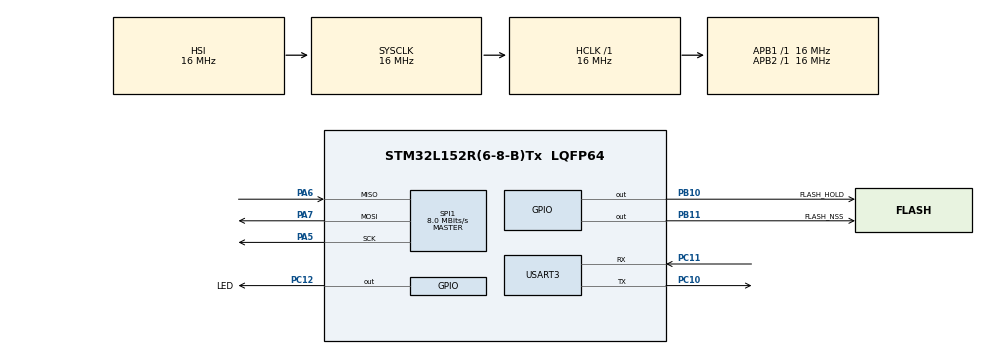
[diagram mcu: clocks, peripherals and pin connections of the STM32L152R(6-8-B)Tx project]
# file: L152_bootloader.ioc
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Mcu.Family=STM32L1
Mcu.Name=STM32L152R(6-8-B)Tx
Mcu.Package=LQFP64
NVIC.PriorityGroup=NVIC_PRIORITYGROUP_4
NVIC.SPI1_IRQn=true\:0\:0\:false\:false\:true\:true\:true\:true
NVIC.USART3_IRQn=true\:0\:0\:false\:false\:true\:true\:true\:true
PA5.Mode=Full_Duplex_Master
PA5.Signal=SPI1_SCK
PA6.Mode=Full_Duplex_Master
PA6.Signal=SPI1_MISO
PA7.Mode=Full_Duplex_Master
PA7.Signal=SPI1_MOSI
PB10.GPIO_Label=FLASH_HOLD
PB10.PinState=GPIO_PIN_SET
PB10.Signal=GPIO_Output
PB11.GPIO_Label=FLASH_NSS
PB11.PinState=GPIO_PIN_SET
PB11.Signal=GPIO_Output
PC10.Mode=Asynchronous
PC10.Signal=USART3_TX
PC11.Mode=Asynchronous
PC11.Signal=USART3_RX
PC12.GPIO_Label=LED
PC12.GPIO_PuPd=GPIO_NOPULL
PC12.Signal=GPIO_Output
ProjectManager.HeapSize=0x200
ProjectManager.StackSize=0x400
ProjectManager.TargetToolchain=EWARM V8.32
RCC.AHBFreq_Value=16000000
RCC.APB1Freq_Value=16000000
RCC.APB1TimFreq_Value=16000000
RCC.APB2Freq_Value=16000000
RCC.APB2TimFreq_Value=16000000
RCC.HCLKFreq_Value=16000000
RCC.HSE_VALUE=24000000
RCC.HSI_VALUE=16000000
RCC.LSE_VALUE=32768
RCC.MSI_VALUE=2097000
RCC.SYSCLKFreq_VALUE=16000000
RCC.SYSCLKSource=RCC_SYSCLKSOURCE_HSI
RCC.VCOOutputFreq_Value=48000000
SPI1.CalculateBaudRate=8.0 MBits/s
SPI1.Direction=SPI_DIRECTION_2LINES
SPI1.Mode=SPI_MODE_MASTER
SPI1.VirtualType=VM_MASTER
USART3.VirtualMode=VM_ASYNC
board=custom

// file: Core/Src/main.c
/* USER CODE BEGIN Header */
/**
  ******************************************************************************
  * @file           : main.c
  * @brief          : Main program body
  ******************************************************************************
  * @attention
  *
  * Copyright (c) 2026 STMicroelectronics.
  * All rights reserved.
  *
  * This software is licensed under terms that can be found in the LICENSE file
  * in the root directory of this software component.
  * If no LICENSE file comes with this software, it is provided AS-IS.
  *
  ******************************************************************************
  */
/* USER CODE END Header */
#include "main.h"
#include "spi.h"
#include "usart.h"
#include "gpio.h"

/* USER CODE BEGIN Includes */
#include "stdio.h"
#include "string.h"
#include "stdbool.h"
//#include "flash_test.h"
#include "flash_io.h"
#include "bootloader_app.h"

#define APP_MAX_SIZE    0x15FFF    // APP max 87KB

// Internal flash: bootloader address range
#define FLASH_INT_START 0x08000000
#define FLASH_INT_END   0x08008000

// Internal flash: message area address range
#define FLASH_MSG_START 0x08008100
#define FLASH_MSG_END   0x08009000

// Internal flash: APP firmware address range
#define FLASH_APP_START 0x0800A000
#define FLASH_APP_END   0x0801FFFF

// External flash: W25Q16 logical address range
#define FLASH_EXT_START 0x000000
#define FLASH_EXT_END   0x1FFFFF

uint32_t CRC32_Calc(const uint8_t *data, uint32_t len);
extern void hal_app_jump(uint32_t u32AppAddr);
void init_turn();

/* USER CODE END Includes */

void SystemClock_Config(void);

int main(void)
{

  /* MCU Configuration--------------------------------------------------------*/

  /* Reset of all peripherals, Initializes the Flash interface and the Systick. */
  HAL_Init();

  /* Configure the system clock */
  SystemClock_Config();

  /* Initialize all configured peripherals */
  MX_GPIO_Init();
  MX_SPI1_Init();
  MX_USART3_UART_Init();
  /* USER CODE BEGIN 2 */

  for(int i = 0; i < 3; i++)
  {
    HAL_GPIO_WritePin(GPIOC, GPIO_PIN_12, GPIO_PIN_SET);
    HAL_Delay(100);
    HAL_GPIO_WritePin(GPIOC, GPIO_PIN_12, GPIO_PIN_RESET);
    HAL_Delay(100);
  }

  // 应用层写入 12 字节：[file_len(4B)][file_crc(4B)][0x55AA55AA(4B)]
  uint32_t msg[3] = {0};  // msg[0]=file_len, msg[1]=file_crc, msg[2]=flag
  IF_Read(FLASH_MSG_START, (uint8_t *)msg, sizeof(msg));

  if (msg[2] == 0x55AA55AA && msg[0] > 0 && msg[0] <= (FLASH_APP_END - FLASH_APP_START))
  {
      uint32_t file_len = msg[0];
      uint32_t file_crc = msg[1];

      //  外置 Flash 固件整体 CRC32 校验

      uint32_t crc = 0xFFFFFFFF;
      uint8_t  buf[256];
      uint32_t remain = file_len;
      uint32_t addr   = FLASH_EXT_START;

      while (remain > 0) {
          uint16_t chunk = (remain > sizeof(buf)) ? (uint16_t)sizeof(buf) : (uint16_t)remain;
          sFLASH_ReadBuffer(buf, addr, chunk);   // 从外置 Flash 读取数据块

          // 逐字节计算 CRC
          for (uint16_t k = 0; k < chunk; k++) {
              crc ^= buf[k];
              for (uint8_t j = 0; j < 8; j++) {
                  if (crc & 1)
                      crc = (crc >> 1) ^ 0xEDB88320;
                  else
                      crc >>= 1;
              }
          }
          addr   += chunk;
          remain -= chunk;
      }
      crc ^= 0xFFFFFFFF;
      // CRC 不匹配 更改标志，回退到现有 APP
      if (crc != file_crc) {
          uint32_t err_msg[3] = {file_len, file_crc, 0x43524345};  // 0x43524345 = "ECRC"
          Flash_Erase_msg();
          IF_Write(FLASH_MSG_START, (uint8_t *)err_msg, sizeof(err_msg));
          NVIC_SystemReset();
      }

      //  擦除 APP 区，搬运固件到内置 Flash
      Flash_Erase_APP();//擦

      uint32_t copy_errors = 0;
      uint8_t  copy_buf[256];
      uint8_t  verify_buf[256];

      for (uint32_t offset = 0; offset < file_len; offset += 256)
      {
          uint16_t chunk = (file_len - offset) > 256 ? 256 : (uint16_t)(file_len - offset);

          // 从外置 Flash 读取
          sFLASH_ReadBuffer(copy_buf, FLASH_EXT_START + offset, chunk);

          // 4 字节对齐补齐
          if (chunk % 4 != 0) {
              uint16_t padded = (chunk + 3) & ~3U;
              for (uint16_t p = chunk; p < padded; p++) copy_buf[p] = 0xFF;
              chunk = padded;
          }
          IF_Write(FLASH_APP_START + offset, copy_buf, chunk);

          //  读回校验
          IF_Read(FLASH_APP_START + offset, verify_buf, chunk);
          if (memcmp(copy_buf, verify_buf, chunk) != 0) {
              copy_errors++;
          }
      }

      //  搬运完毕，判定结果
      if (copy_errors == 0) {
          // 全部校验通过：清除标记，重启运行新固件
          Flash_Erase_msg();
      } else {
          // 校验失败 清除标记
          // 写入错误码 0x434F5059
          uint32_t err_msg[3] = {file_len, file_crc, 0x434F5059};
          Flash_Erase_msg();
          IF_Write(FLASH_MSG_START, (uint8_t *)err_msg, sizeof(err_msg));
      }
      NVIC_SystemReset();
  }
  else
  {
    uint32_t app_sp, app_pc;

    // jump_to_app: 验证 APP 固件有效性
    // [0] = 初始 SP, [1] = Reset_Handler PC
    app_sp = *(__IO uint32_t*)(FLASH_APP_START);
    app_pc = *(__IO uint32_t*)(FLASH_APP_START + 4);

    // SP 必须在 RAM 范围内 (20KB RAM @ 0x20000000)
    // PC 必须在 APP 区范围内，且 LSB=1 (Thumb 模式)
    if ((app_sp >= 0x20000000 && app_sp <= 0x20005000) &&
        (app_pc >= FLASH_APP_START && app_pc <= FLASH_APP_END) &&
        (app_pc & 1))
    {
        init_turn();  // 跳转前关闭所有外设
        hal_app_jump(FLASH_APP_START);
    }

  }

  /* USER CODE END 2 */

  /* Infinite loop */
  while (1)
  {

  }
}

void SystemClock_Config(void)
{
  RCC_OscInitTypeDef RCC_OscInitStruct = {0};
  RCC_ClkInitTypeDef RCC_ClkInitStruct = {0};

  /** Configure the main internal regulator output voltage
  */
  __HAL_PWR_VOLTAGESCALING_CONFIG(PWR_REGULATOR_VOLTAGE_SCALE1);

  /** Initializes the RCC Oscillators according to the specified parameters
  * in the RCC_OscInitTypeDef structure.
  */
  RCC_OscInitStruct.OscillatorType = RCC_OSCILLATORTYPE_HSI;
  RCC_OscInitStruct.HSIState = RCC_HSI_ON;
  RCC_OscInitStruct.HSICalibrationValue = RCC_HSICALIBRATION_DEFAULT;
  RCC_OscInitStruct.PLL.PLLState = RCC_PLL_NONE;
  if (HAL_RCC_OscConfig(&RCC_OscInitStruct) != HAL_OK)
  {
    Error_Handler();
  }

  /** Initializes the CPU, AHB and APB buses clocks
  */
  RCC_ClkInitStruct.ClockType = RCC_CLOCKTYPE_HCLK|RCC_CLOCKTYPE_SYSCLK
                              |RCC_CLOCKTYPE_PCLK1|RCC_CLOCKTYPE_PCLK2;
  RCC_ClkInitStruct.SYSCLKSource = RCC_SYSCLKSOURCE_HSI;
  RCC_ClkInitStruct.AHBCLKDivider = RCC_SYSCLK_DIV1;
  RCC_ClkInitStruct.APB1CLKDivider = RCC_HCLK_DIV1;
  RCC_ClkInitStruct.APB2CLKDivider = RCC_HCLK_DIV1;

  if (HAL_RCC_ClockConfig(&RCC_ClkInitStruct, FLASH_LATENCY_0) != HAL_OK)
  {
    Error_Handler();
  }
}

/* USER CODE BEGIN 4 */

void init_turn(){
  // 跳转前应执行:
  HAL_SPI_DeInit(&hspi1);
  HAL_UART_DeInit(&huart3);
  HAL_DeInit();
  SysTick->CTRL = 0;   // 关闭 SysTick
}

/* USER CODE END 4 */

void Error_Handler(void)
{
  __disable_irq();
  while (1)
  {
  }
}
